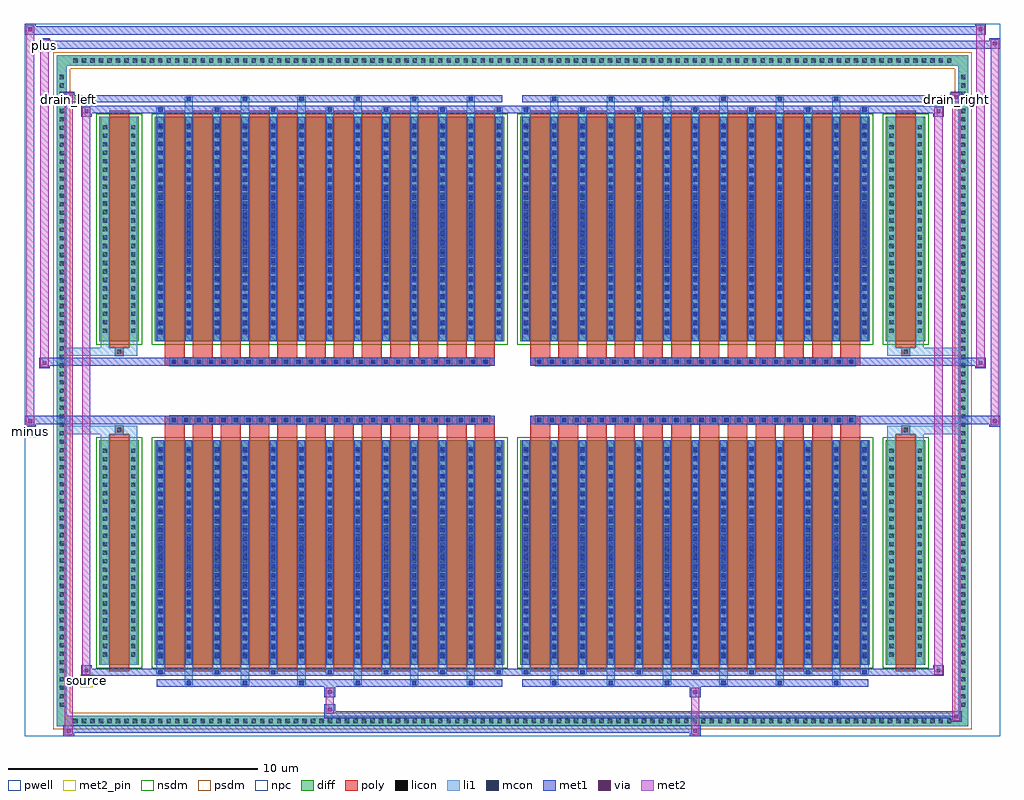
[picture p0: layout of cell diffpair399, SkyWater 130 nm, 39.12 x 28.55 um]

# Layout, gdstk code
import gdstk
lib = gdstk.Library(unit=1e-6, precision=5e-09)
def R(c, l, rs):  # rectangles x0, y0, x1, y1
    for r in rs: c.add(gdstk.rectangle(r[:2], r[2:], *l))
def A(c, l, x, y, w, h, nx, ny, dx, dy):  # array of equal rectangles
    R(c, l, [(x+i*dx, y+j*dy, x+i*dx+w, y+j*dy+h) for i in range(nx) for j in range(ny)])
def P(c, l, *ps):  # polygons
    for p in ps: c.add(gdstk.Polygon(p, *l))
pwell = (64, 44)
diff = (65, 20)
poly = (66, 20)
licon = (66, 44)
li1 = (67, 20)
mcon = (67, 44)
met1 = (68, 20)
via = (68, 44)
met2_pin = (69, 16)
met2 = (69, 20)
nsdm = (93, 44)
psdm = (94, 20)
npc = (95, 20)

diffpair399 = lib.new_cell('diffpair399')
R(diffpair399, pwell, [(-19.54,-13.84,19.54,14.71), (-16.86,-12.03,-0.01,-0.805), (0.01,-12.03,16.86,-0.805), (-16.86,0.805,-0.01,12.03), (0.01,0.805,16.86,12.03)])
A(diffpair399, diff, -17.715, -13.44, 0.41, 0.41, 104, 2, 0.34, 26.47)
A(diffpair399, diff, -18.27, -12.785, 0.41, 0.41, 1, 75, 0, 0.34)
A(diffpair399, diff, 17.86, -12.785, 0.41, 0.41, 1, 75, 0, 0.34)
R(diffpair399, diff, [(-17.715,-13.44,17.715,-13.03), (-18.27,-12.785,-17.86,12.785), (17.86,-12.785,18.27,12.785), (-16.55,-10.985,-14.97,-1.985), (-14.33,-10.985,-0.32,-1.985), (0.32,-10.985,14.33,-1.985), (14.97,-10.985,16.55,-1.985), (-16.55,1.985,-14.97,10.985), (-14.33,1.985,-0.32,10.985), (0.32,1.985,14.33,10.985), (14.97,1.985,16.55,10.985), (-17.715,13.03,17.715,13.44)])
P(diffpair399, diff, [(18.27,13.44),(-18.27,13.44),(-18.27,-13.03),(-17.86,-13.03),(-17.86,13.03),(17.86,13.03),(17.86,-13.03),(-17.86,-13.03),(-18.27,-13.03),(-18.27,-13.44),(18.27,-13.44)])
A(diffpair399, poly, -13.94, -11.235, 0.8, 9.5, 12, 2, 1.13, 12.97)
A(diffpair399, poly, 0.71, -11.235, 0.8, 9.5, 12, 2, 1.13, 12.97)
A(diffpair399, poly, -13.94, -1.735, 0.8, 0.4, 12, 2, 1.13, 3.07)
A(diffpair399, poly, 0.71, -1.735, 0.8, 0.4, 12, 2, 1.13, 3.07)
A(diffpair399, poly, -13.74, -1.335, 0.33, 0.33, 26, 2, 0.5, 2.34)
A(diffpair399, poly, 0.91, -1.335, 0.33, 0.33, 26, 2, 0.5, 2.34)
R(diffpair399, poly, [(-16.16,-11.235,-15.36,-1.735), (15.36,-11.235,16.16,-1.735), (-15.925,-1.735,-15.595,-1.405), (-15.925,-1.735,-15.595,-1.405), (15.595,-1.735,15.925,-1.405), (15.595,-1.735,15.925,-1.405), (-13.94,-1.335,-0.71,-1.005), (0.71,-1.335,13.94,-1.005), (-13.94,1.005,-0.71,1.335), (0.71,1.005,13.94,1.335), (-15.925,1.405,-15.595,1.735), (-15.925,1.405,-15.595,1.735), (15.595,1.405,15.925,1.735), (15.595,1.405,15.925,1.735), (-16.16,1.735,-15.36,11.235), (15.36,1.735,16.16,11.235)])
A(diffpair399, licon, -17.595, -13.32, 0.17, 0.17, 104, 2, 0.34, 26.47)
A(diffpair399, licon, -18.15, -12.665, 0.17, 0.17, 1, 75, 0, 0.34)
A(diffpair399, licon, 17.98, -12.665, 0.17, 0.17, 1, 75, 0, 0.34)
A(diffpair399, licon, -16.41, -10.65, 0.17, 0.17, 1, 25, 0, 0.34)
A(diffpair399, licon, -15.28, -10.65, 0.17, 0.17, 1, 25, 0, 0.34)
A(diffpair399, licon, -14.19, -10.65, 0.17, 0.17, 13, 25, 1.13, 0.34)
A(diffpair399, licon, 0.46, -10.65, 0.17, 0.17, 13, 25, 1.13, 0.34)
A(diffpair399, licon, 15.11, -10.65, 0.17, 0.17, 1, 25, 0, 0.34)
A(diffpair399, licon, 16.24, -10.65, 0.17, 0.17, 1, 25, 0, 0.34)
A(diffpair399, licon, -13.66, -1.255, 0.17, 0.17, 26, 2, 0.5, 2.34)
A(diffpair399, licon, 0.99, -1.255, 0.17, 0.17, 26, 2, 0.5, 2.34)
A(diffpair399, licon, -16.41, 2.32, 0.17, 0.17, 1, 25, 0, 0.34)
A(diffpair399, licon, -15.28, 2.32, 0.17, 0.17, 1, 25, 0, 0.34)
A(diffpair399, licon, -14.19, 2.32, 0.17, 0.17, 13, 25, 1.13, 0.34)
A(diffpair399, licon, 0.46, 2.32, 0.17, 0.17, 13, 25, 1.13, 0.34)
A(diffpair399, licon, 15.11, 2.32, 0.17, 0.17, 1, 25, 0, 0.34)
A(diffpair399, licon, 16.24, 2.32, 0.17, 0.17, 1, 25, 0, 0.34)
R(diffpair399, licon, [(-15.845,-1.655,-15.675,-1.485), (15.675,-1.655,15.845,-1.485), (-15.845,1.485,-15.675,1.655), (15.675,1.485,15.845,1.655)])
A(diffpair399, li1, -17.675, -13.4, 0.33, 0.33, 104, 2, 0.34, 26.47)
A(diffpair399, li1, -18.23, -12.745, 0.33, 0.33, 1, 75, 0, 0.34)
A(diffpair399, li1, 17.9, -12.745, 0.33, 0.33, 1, 75, 0, 0.34)
A(diffpair399, li1, -13.14, -11.79, 0.33, 0.805, 6, 2, 2.26, 22.775)
A(diffpair399, li1, -13.06, -11.79, 0.17, 0.17, 6, 2, 2.26, 23.41)
A(diffpair399, li1, 1.51, -11.79, 0.33, 0.805, 6, 2, 2.26, 22.775)
A(diffpair399, li1, 1.59, -11.79, 0.17, 0.17, 6, 2, 2.26, 23.41)
A(diffpair399, li1, -14.27, -11.36, 0.33, 0.375, 7, 2, 2.26, 22.345)
A(diffpair399, li1, -14.19, -11.36, 0.17, 0.17, 7, 2, 2.26, 22.55)
A(diffpair399, li1, 0.38, -11.36, 0.33, 0.375, 7, 2, 2.26, 22.345)
A(diffpair399, li1, 0.46, -11.36, 0.17, 0.17, 7, 2, 2.26, 22.55)
A(diffpair399, li1, -14.27, -10.985, 0.33, 9, 13, 2, 1.13, 12.97)
A(diffpair399, li1, 0.38, -10.985, 0.33, 9, 13, 2, 1.13, 12.97)
A(diffpair399, li1, -16.49, -10.73, 0.33, 0.33, 1, 25, 0, 0.34)
A(diffpair399, li1, -15.36, -10.73, 0.33, 0.33, 1, 25, 0, 0.34)
A(diffpair399, li1, -14.27, -10.73, 0.33, 0.33, 13, 25, 1.13, 0.34)
A(diffpair399, li1, 0.38, -10.73, 0.33, 0.33, 13, 25, 1.13, 0.34)
A(diffpair399, li1, 15.03, -10.73, 0.33, 0.33, 1, 25, 0, 0.34)
A(diffpair399, li1, 16.16, -10.73, 0.33, 0.33, 1, 25, 0, 0.34)
A(diffpair399, li1, -14.19, -10.71, 0.17, 0.17, 13, 24, 1.13, 0.36)
A(diffpair399, li1, -14.19, -10.71, 0.17, 8.45, 13, 2, 1.13, 12.97)
A(diffpair399, li1, 0.46, -10.71, 0.17, 0.17, 13, 24, 1.13, 0.36)
A(diffpair399, li1, 0.46, -10.71, 0.17, 8.45, 13, 2, 1.13, 12.97)
A(diffpair399, li1, -13.74, -1.335, 0.33, 0.33, 26, 2, 0.5, 2.34)
A(diffpair399, li1, 0.91, -1.335, 0.33, 0.33, 26, 2, 0.5, 2.34)
A(diffpair399, li1, -16.49, 2.24, 0.33, 0.33, 1, 25, 0, 0.34)
A(diffpair399, li1, -15.36, 2.24, 0.33, 0.33, 1, 25, 0, 0.34)
A(diffpair399, li1, -14.27, 2.24, 0.33, 0.33, 13, 25, 1.13, 0.34)
A(diffpair399, li1, 0.38, 2.24, 0.33, 0.33, 13, 25, 1.13, 0.34)
A(diffpair399, li1, 15.03, 2.24, 0.33, 0.33, 1, 25, 0, 0.34)
A(diffpair399, li1, 16.16, 2.24, 0.33, 0.33, 1, 25, 0, 0.34)
A(diffpair399, li1, -14.19, 2.26, 0.17, 0.17, 13, 24, 1.13, 0.36)
A(diffpair399, li1, 0.46, 2.26, 0.17, 0.17, 13, 24, 1.13, 0.36)
R(diffpair399, li1, [(-18.27,-13.44,-17.86,-13.03), (-18.27,-13.44,-17.86,-13.03), (-17.86,-13.44,17.86,-13.03), (17.86,-13.44,18.27,-13.03), (17.86,-13.44,18.27,-13.03), (-18.27,-13.03,-17.86,13.03), (17.86,-13.03,18.27,13.03), (-16.49,-10.985,-16.16,-1.985), (-15.36,-10.985,-15.03,-1.985), (15.03,-10.985,15.36,-1.985), (16.16,-10.985,16.49,-1.985), (-16.49,-1.985,-16.16,-1.405), (-15.36,-1.985,-15.03,-1.405), (15.03,-1.985,15.36,-1.405), (16.16,-1.985,16.49,-1.405), (-18.27,-1.735,-15.925,-1.405), (-16.49,-1.735,-15.925,-1.405), (-15.925,-1.735,-15.595,-1.405), (-15.595,-1.735,-15.03,-1.405), (15.03,-1.735,15.595,-1.405), (15.595,-1.735,15.925,-1.405), (15.595,-1.735,18.27,-1.405), (15.925,-1.735,16.49,-1.405), (-18.27,1.405,-15.925,1.735), (-16.49,1.405,-15.925,1.735), (-16.49,1.405,-16.16,1.985), (-15.925,1.405,-15.595,1.735), (-15.595,1.405,-15.03,1.735), (-15.36,1.405,-15.03,1.985), (15.03,1.405,15.595,1.735), (15.03,1.405,15.36,1.985), (15.595,1.405,15.925,1.735), (15.595,1.405,18.27,1.735), (15.925,1.405,16.49,1.735), (16.16,1.405,16.49,1.985), (-16.49,1.985,-16.16,10.985), (-15.36,1.985,-15.03,10.985), (15.03,1.985,15.36,10.985), (16.16,1.985,16.49,10.985), (-18.27,13.03,-17.86,13.44), (-18.27,13.03,-17.86,13.44), (-17.86,13.03,17.86,13.44), (17.86,13.03,18.27,13.44), (17.86,13.03,18.27,13.44)])
A(diffpair399, mcon, -13.06, -11.79, 0.17, 0.17, 6, 2, 2.26, 23.41)
A(diffpair399, mcon, 1.59, -11.79, 0.17, 0.17, 6, 2, 2.26, 23.41)
A(diffpair399, mcon, -14.19, -11.36, 0.17, 0.17, 7, 2, 2.26, 22.55)
A(diffpair399, mcon, 0.46, -11.36, 0.17, 0.17, 7, 2, 2.26, 22.55)
A(diffpair399, mcon, -14.19, -10.71, 0.17, 0.17, 13, 24, 1.13, 0.36)
A(diffpair399, mcon, 0.46, -10.71, 0.17, 0.17, 13, 24, 1.13, 0.36)
A(diffpair399, mcon, -13.66, -1.255, 0.17, 0.17, 26, 2, 0.5, 2.34)
A(diffpair399, mcon, 0.99, -1.255, 0.17, 0.17, 26, 2, 0.5, 2.34)
A(diffpair399, mcon, -14.19, 2.26, 0.17, 0.17, 13, 24, 1.13, 0.36)
A(diffpair399, mcon, 0.46, 2.26, 0.17, 0.17, 13, 24, 1.13, 0.36)
A(diffpair399, met1, -13.12, -11.85, 0.29, 0.29, 6, 2, 2.26, 23.41)
A(diffpair399, met1, 1.53, -11.85, 0.29, 0.29, 6, 2, 2.26, 23.41)
A(diffpair399, met1, -14.25, -11.42, 0.29, 0.29, 7, 2, 2.26, 22.55)
A(diffpair399, met1, 0.4, -11.42, 0.29, 0.29, 7, 2, 2.26, 22.55)
A(diffpair399, met1, -14.25, -10.985, 0.29, 9, 13, 2, 1.13, 12.97)
A(diffpair399, met1, 0.4, -10.985, 0.29, 9, 13, 2, 1.13, 12.97)
A(diffpair399, met1, -14.25, -10.77, 0.29, 0.29, 13, 24, 1.13, 0.36)
A(diffpair399, met1, 0.4, -10.77, 0.29, 0.29, 13, 24, 1.13, 0.36)
A(diffpair399, met1, -13.72, -1.315, 0.29, 0.29, 26, 2, 0.5, 2.34)
A(diffpair399, met1, 0.93, -1.315, 0.29, 0.29, 26, 2, 0.5, 2.34)
A(diffpair399, met1, -14.25, 2.2, 0.29, 0.29, 13, 24, 1.13, 0.36)
A(diffpair399, met1, 0.4, 2.2, 0.29, 0.29, 13, 24, 1.13, 0.36)
R(diffpair399, met1, [(-18,-13.84,-17.57,-13.41), (7.11,-13.84,7.54,-13.41), (-18,-13.7,7.54,-13.41), (17.57,-13.27,18,-12.84), (-7.54,-13.13,18,-12.84), (-7.54,-12.99,-7.11,-12.56), (-7.54,-12.28,-7.11,-11.85), (7.11,-12.28,7.54,-11.85), (-14.25,-11.85,-0.4,-11.56), (0.4,-11.85,14.25,-11.56), (-17.29,-11.42,-16.86,-10.99), (-17.29,-11.42,-14.25,-11.13), (-14.25,-11.42,-0.4,-11.13), (-0.4,-11.42,0.4,-11.13), (0.4,-11.42,14.25,-11.13), (14.25,-11.42,17.29,-11.13), (16.86,-11.42,17.29,-10.99), (-19.54,-1.435,-19.11,-1.005), (19.11,-1.435,19.54,-1.005), (-19.54,-1.335,-0.71,-1.005), (-13.94,-1.335,-0.71,-1.005), (0.71,-1.335,13.94,-1.005), (0.71,-1.335,19.54,-1.005), (-18.97,0.905,-18.54,1.335), (18.54,0.905,18.97,1.335), (-18.97,1.005,-13.94,1.335), (-13.94,1.005,-0.71,1.335), (0.71,1.005,13.94,1.335), (13.94,1.005,18.97,1.335), (-17.29,10.99,-16.86,11.42), (16.86,10.99,17.29,11.42), (-17.29,11.13,-14.25,11.42), (-14.25,11.13,-0.4,11.42), (-0.4,11.13,0.4,11.42), (0.4,11.13,14.25,11.42), (14.25,11.13,17.29,11.42), (-18,11.56,-17.57,11.99), (-18,11.56,-14.25,11.85), (-14.25,11.56,-0.4,11.85), (0.4,11.56,14.25,11.85), (14.25,11.56,18,11.85), (17.57,11.56,18,11.99), (-18.97,13.71,-18.54,14.14), (-18.97,13.71,-16.86,14.04), (-16.86,13.71,16.86,14.04), (16.86,13.71,19.54,14.04), (19.11,13.71,19.54,14.14), (-19.54,14.28,-19.11,14.71), (-19.54,14.28,-16.86,14.61), (-16.86,14.28,16.86,14.61), (16.86,14.28,18.97,14.61), (18.54,14.28,18.97,14.71)])
R(diffpair399, via, [(-17.86,-13.7,-17.71,-13.55), (7.25,-13.7,7.4,-13.55), (17.71,-13.13,17.86,-12.98), (-7.4,-12.85,-7.25,-12.7), (-7.4,-12.14,-7.25,-11.99), (7.25,-12.14,7.4,-11.99), (-17.15,-11.28,-17,-11.13), (17,-11.28,17.15,-11.13), (-19.4,-1.295,-19.25,-1.145), (19.25,-1.295,19.4,-1.145), (-18.83,1.045,-18.68,1.195), (18.68,1.045,18.83,1.195), (-17.15,11.13,-17,11.28), (17,11.13,17.15,11.28), (-17.86,11.7,-17.71,11.85), (17.71,11.7,17.86,11.85), (-18.83,13.85,-18.68,14), (19.25,13.85,19.4,14), (-19.4,14.42,-19.25,14.57), (18.68,14.42,18.83,14.57)])
R(diffpair399, met2_pin, [(-17.325,-11.87,-16.825,-11.37), (-19.575,-1.885,-19.075,-1.385), (-18.035,11.44,-17.535,11.94), (17.535,11.44,18.035,11.94), (-19.005,13.59,-18.505,14.09)])
R(diffpair399, met2, [(-17.95,-13.79,-17.62,-13.46), (-17.95,-13.79,-17.62,11.94), (7.16,-13.79,7.49,-13.46), (7.16,-13.46,7.49,-12.23), (17.62,-13.22,17.95,-12.89), (17.62,-13.22,17.95,11.94), (-7.49,-12.94,-7.16,-12.61), (-7.49,-12.61,-7.16,-12.23), (-7.49,-12.23,-7.16,-11.9), (7.16,-12.23,7.49,-11.9), (-17.24,-11.37,-16.91,-11.04), (-17.24,-11.37,-16.91,11.37), (16.91,-11.37,17.24,-11.04), (16.91,-11.37,17.24,11.37), (-19.49,-1.385,-19.16,-1.055), (-19.49,-1.385,-19.16,14.66), (19.16,-1.385,19.49,-1.055), (19.16,-1.385,19.49,14.09), (-18.92,0.955,-18.59,1.285), (-18.92,0.955,-18.59,14.09), (18.59,0.955,18.92,1.285), (18.59,0.955,18.92,14.66), (-17.24,11.04,-16.91,11.37), (16.91,11.04,17.24,11.37), (-17.95,11.61,-17.62,11.94), (17.62,11.61,17.95,11.94), (-18.92,13.76,-18.59,14.09), (19.16,13.76,19.49,14.09), (-19.49,14.33,-19.16,14.66), (18.59,14.33,18.92,14.66)])
P(diffpair399, met2, [(19.49,-1.385),(19.49,-1.385),(19.49,-1.055),(19.49,-1.055)],
  [(19.49,13.76),(19.49,13.76),(19.49,14.09),(19.49,14.09)],
  [(-19.16,-1.385),(-19.16,-1.385),(-19.16,-1.055),(-19.16,-1.055)],
  [(-19.16,14.33),(-19.16,14.33),(-19.16,14.66),(-19.16,14.66)],
  [(18.92,0.955),(18.92,0.955),(18.92,1.285),(18.92,1.285)],
  [(18.92,14.33),(18.92,14.33),(18.92,14.66),(18.92,14.66)],
  [(-18.59,0.955),(-18.59,0.955),(-18.59,1.285),(-18.59,1.285)],
  [(-18.59,13.76),(-18.59,13.76),(-18.59,14.09),(-18.59,14.09)],
  [(-17.62,-13.79),(-17.62,-13.79),(-17.62,-13.46),(-17.62,-13.46)],
  [(-17.62,11.61),(-17.62,11.61),(-17.62,11.94),(-17.62,11.94)],
  [(17.95,-13.22),(17.95,-13.22),(17.95,-12.89),(17.95,-12.89)],
  [(17.95,11.61),(17.95,11.61),(17.95,11.94),(17.95,11.94)],
  [(-16.91,-11.37),(-16.91,-11.37),(-16.91,-11.04),(-16.91,-11.04)],
  [(-16.91,11.04),(-16.91,11.04),(-16.91,11.37),(-16.91,11.37)],
  [(17.24,-11.37),(17.24,-11.37),(17.24,-11.04),(17.24,-11.04)],
  [(17.24,11.04),(17.24,11.04),(17.24,11.37),(17.24,11.37)])
R(diffpair399, nsdm, [(-16.68,-11.115,-14.84,-1.855), (-14.46,-11.115,-0.19,-1.855), (0.19,-11.115,14.46,-1.855), (14.84,-11.115,16.68,-1.855), (-16.68,1.855,-14.84,11.115), (-14.46,1.855,-0.19,11.115), (0.19,1.855,14.46,11.115), (14.84,1.855,16.68,11.115)])
P(diffpair399, psdm, [(18.4,13.57),(-18.4,13.57),(-18.4,-12.9),(-17.73,-12.9),(-17.73,12.9),(17.73,12.9),(17.73,-12.9),(-17.73,-12.9),(-18.4,-12.9),(-18.4,-13.57),(18.4,-13.57)])
A(diffpair399, npc, -13.76, -1.355, 0.37, 0.37, 26, 2, 0.5, 2.34)
A(diffpair399, npc, 0.89, -1.355, 0.37, 0.37, 26, 2, 0.5, 2.34)
R(diffpair399, npc, [(-15.945,-1.755,-15.575,-1.385), (15.575,-1.755,15.945,-1.385), (-13.76,-1.355,-12.89,-0.985), (-13.76,-1.355,-12.89,-0.985), (-13.26,-1.355,-12.39,-0.985), (-13.26,-1.355,-12.39,-0.985), (-12.76,-1.355,-11.89,-0.985), (-12.76,-1.355,-11.89,-0.985), (-12.26,-1.355,-11.39,-0.985), (-12.26,-1.355,-11.39,-0.985), (-11.76,-1.355,-10.89,-0.985), (-11.76,-1.355,-10.89,-0.985), (-11.26,-1.355,-10.39,-0.985), (-11.26,-1.355,-10.39,-0.985), (-10.76,-1.355,-9.89,-0.985), (-10.76,-1.355,-9.89,-0.985), (-10.26,-1.355,-9.39,-0.985), (-10.26,-1.355,-9.39,-0.985), (-9.76,-1.355,-8.89,-0.985), (-9.76,-1.355,-8.89,-0.985), (-9.26,-1.355,-8.39,-0.985), (-9.26,-1.355,-8.39,-0.985), (-8.76,-1.355,-7.89,-0.985), (-8.76,-1.355,-7.89,-0.985), (-8.26,-1.355,-7.39,-0.985), (-8.26,-1.355,-7.39,-0.985), (-7.76,-1.355,-6.89,-0.985), (-7.76,-1.355,-6.89,-0.985), (-7.26,-1.355,-6.39,-0.985), (-7.26,-1.355,-6.39,-0.985), (-6.76,-1.355,-5.89,-0.985), (-6.76,-1.355,-5.89,-0.985), (-6.26,-1.355,-5.39,-0.985), (-6.26,-1.355,-5.39,-0.985), (-5.76,-1.355,-4.89,-0.985), (-5.76,-1.355,-4.89,-0.985), (-5.26,-1.355,-4.39,-0.985), (-5.26,-1.355,-4.39,-0.985), (-4.76,-1.355,-3.89,-0.985), (-4.76,-1.355,-3.89,-0.985), (-4.26,-1.355,-3.39,-0.985), (-4.26,-1.355,-3.39,-0.985), (-3.76,-1.355,-2.89,-0.985), (-3.76,-1.355,-2.89,-0.985), (-3.26,-1.355,-2.39,-0.985), (-3.26,-1.355,-2.39,-0.985), (-2.76,-1.355,-1.89,-0.985), (-2.76,-1.355,-1.89,-0.985), (-2.26,-1.355,-1.39,-0.985), (-2.26,-1.355,-1.39,-0.985), (-1.76,-1.355,-0.89,-0.985), (-1.76,-1.355,-0.89,-0.985), (0.89,-1.355,1.76,-0.985), (0.89,-1.355,1.76,-0.985), (1.39,-1.355,2.26,-0.985), (1.39,-1.355,2.26,-0.985), (1.89,-1.355,2.76,-0.985), (1.89,-1.355,2.76,-0.985), (2.39,-1.355,3.26,-0.985), (2.39,-1.355,3.26,-0.985), (2.89,-1.355,3.76,-0.985), (2.89,-1.355,3.76,-0.985), (3.39,-1.355,4.26,-0.985), (3.39,-1.355,4.26,-0.985), (3.89,-1.355,4.76,-0.985), (3.89,-1.355,4.76,-0.985), (4.39,-1.355,5.26,-0.985), (4.39,-1.355,5.26,-0.985), (4.89,-1.355,5.76,-0.985), (4.89,-1.355,5.76,-0.985), (5.39,-1.355,6.26,-0.985), (5.39,-1.355,6.26,-0.985), (5.89,-1.355,6.76,-0.985), (5.89,-1.355,6.76,-0.985), (6.39,-1.355,7.26,-0.985), (6.39,-1.355,7.26,-0.985), (6.89,-1.355,7.76,-0.985), (6.89,-1.355,7.76,-0.985), (7.39,-1.355,8.26,-0.985), (7.39,-1.355,8.26,-0.985), (7.89,-1.355,8.76,-0.985), (7.89,-1.355,8.76,-0.985), (8.39,-1.355,9.26,-0.985), (8.39,-1.355,9.26,-0.985), (8.89,-1.355,9.76,-0.985), (8.89,-1.355,9.76,-0.985), (9.39,-1.355,10.26,-0.985), (9.39,-1.355,10.26,-0.985), (9.89,-1.355,10.76,-0.985), (9.89,-1.355,10.76,-0.985), (10.39,-1.355,11.26,-0.985), (10.39,-1.355,11.26,-0.985), (10.89,-1.355,11.76,-0.985), (10.89,-1.355,11.76,-0.985), (11.39,-1.355,12.26,-0.985), (11.39,-1.355,12.26,-0.985), (11.89,-1.355,12.76,-0.985), (11.89,-1.355,12.76,-0.985), (12.39,-1.355,13.26,-0.985), (12.39,-1.355,13.26,-0.985), (12.89,-1.355,13.76,-0.985), (12.89,-1.355,13.76,-0.985), (-13.76,0.985,-12.89,1.355), (-13.76,0.985,-12.89,1.355), (-13.26,0.985,-12.39,1.355), (-13.26,0.985,-12.39,1.355), (-12.76,0.985,-11.89,1.355), (-12.76,0.985,-11.89,1.355), (-12.26,0.985,-11.39,1.355), (-12.26,0.985,-11.39,1.355), (-11.76,0.985,-10.89,1.355), (-11.76,0.985,-10.89,1.355), (-11.26,0.985,-10.39,1.355), (-11.26,0.985,-10.39,1.355), (-10.76,0.985,-9.89,1.355), (-10.76,0.985,-9.89,1.355), (-10.26,0.985,-9.39,1.355), (-10.26,0.985,-9.39,1.355), (-9.76,0.985,-8.89,1.355), (-9.76,0.985,-8.89,1.355), (-9.26,0.985,-8.39,1.355), (-9.26,0.985,-8.39,1.355), (-8.76,0.985,-7.89,1.355), (-8.76,0.985,-7.89,1.355), (-8.26,0.985,-7.39,1.355), (-8.26,0.985,-7.39,1.355), (-7.76,0.985,-6.89,1.355), (-7.76,0.985,-6.89,1.355), (-7.26,0.985,-6.39,1.355), (-7.26,0.985,-6.39,1.355), (-6.76,0.985,-5.89,1.355), (-6.76,0.985,-5.89,1.355), (-6.26,0.985,-5.39,1.355), (-6.26,0.985,-5.39,1.355), (-5.76,0.985,-4.89,1.355), (-5.76,0.985,-4.89,1.355), (-5.26,0.985,-4.39,1.355), (-5.26,0.985,-4.39,1.355), (-4.76,0.985,-3.89,1.355), (-4.76,0.985,-3.89,1.355), (-4.26,0.985,-3.39,1.355), (-4.26,0.985,-3.39,1.355), (-3.76,0.985,-2.89,1.355), (-3.76,0.985,-2.89,1.355), (-3.26,0.985,-2.39,1.355), (-3.26,0.985,-2.39,1.355), (-2.76,0.985,-1.89,1.355), (-2.76,0.985,-1.89,1.355), (-2.26,0.985,-1.39,1.355), (-2.26,0.985,-1.39,1.355), (-1.76,0.985,-0.89,1.355), (-1.76,0.985,-0.89,1.355), (0.89,0.985,1.76,1.355), (0.89,0.985,1.76,1.355), (1.39,0.985,2.26,1.355), (1.39,0.985,2.26,1.355), (1.89,0.985,2.76,1.355), (1.89,0.985,2.76,1.355), (2.39,0.985,3.26,1.355), (2.39,0.985,3.26,1.355), (2.89,0.985,3.76,1.355), (2.89,0.985,3.76,1.355), (3.39,0.985,4.26,1.355), (3.39,0.985,4.26,1.355), (3.89,0.985,4.76,1.355), (3.89,0.985,4.76,1.355), (4.39,0.985,5.26,1.355), (4.39,0.985,5.26,1.355), (4.89,0.985,5.76,1.355), (4.89,0.985,5.76,1.355), (5.39,0.985,6.26,1.355), (5.39,0.985,6.26,1.355), (5.89,0.985,6.76,1.355), (5.89,0.985,6.76,1.355), (6.39,0.985,7.26,1.355), (6.39,0.985,7.26,1.355), (6.89,0.985,7.76,1.355), (6.89,0.985,7.76,1.355), (7.39,0.985,8.26,1.355), (7.39,0.985,8.26,1.355), (7.89,0.985,8.76,1.355), (7.89,0.985,8.76,1.355), (8.39,0.985,9.26,1.355), (8.39,0.985,9.26,1.355), (8.89,0.985,9.76,1.355), (8.89,0.985,9.76,1.355), (9.39,0.985,10.26,1.355), (9.39,0.985,10.26,1.355), (9.89,0.985,10.76,1.355), (9.89,0.985,10.76,1.355), (10.39,0.985,11.26,1.355), (10.39,0.985,11.26,1.355), (10.89,0.985,11.76,1.355), (10.89,0.985,11.76,1.355), (11.39,0.985,12.26,1.355), (11.39,0.985,12.26,1.355), (11.89,0.985,12.76,1.355), (11.89,0.985,12.76,1.355), (12.39,0.985,13.26,1.355), (12.39,0.985,13.26,1.355), (12.89,0.985,13.76,1.355), (12.89,0.985,13.76,1.355), (-15.945,1.385,-15.575,1.755), (15.575,1.385,15.945,1.755)])
diffpair399.add(gdstk.Label('minus', (-19.325,-1.635), layer=69, texttype=5))
diffpair399.add(gdstk.Label('drain_right', (17.785,11.69), layer=69, texttype=5))
diffpair399.add(gdstk.Label('drain_left', (-17.785,11.69), layer=69, texttype=5))
diffpair399.add(gdstk.Label('source', (-17.075,-11.62), layer=69, texttype=5))
diffpair399.add(gdstk.Label('plus', (-18.755,13.84), layer=69, texttype=5))

lib.write_gds('diffpair399.gds')
